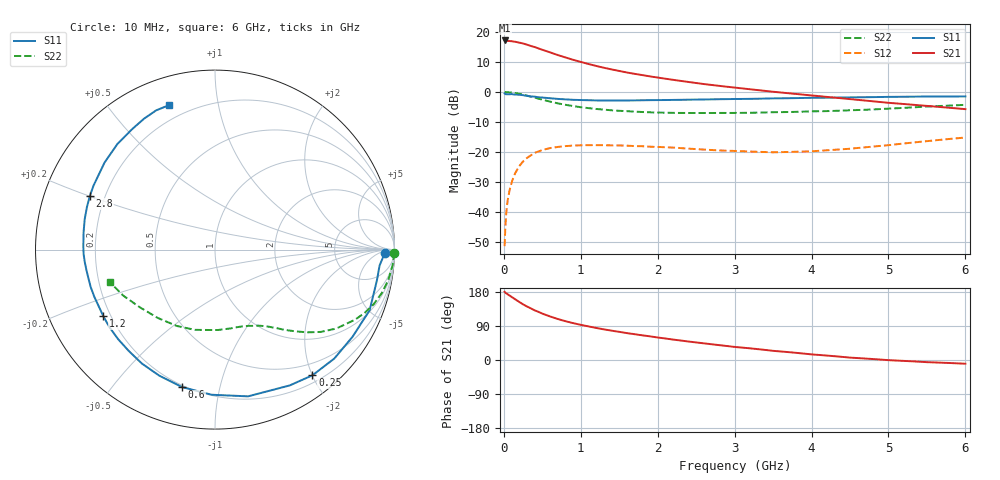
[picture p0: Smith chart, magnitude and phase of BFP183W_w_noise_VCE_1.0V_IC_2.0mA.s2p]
! Infineon Technologies  Discrete & RF Semiconductors
! BFP183W
! VCE =  1.0 V,  IC =  2.0 mA
! Common Emitter S-Parameters:  Jan 2017
# GHz  S  MA  R  50
!  f  S11  S21  S12  S22
! GHz  MAG  ANG  MAG  ANG  MAG  ANG  MAG  ANG
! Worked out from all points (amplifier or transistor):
!   77 points, 10 MHz to 6 GHz, reference 50 ohm
!   highest |S21| = 17.2 dB at 10 MHz (marker M1)
!   |S21| within 3 dB of that: start of sweep to 489.1 MHz
!   unconditionally stable (mu >= 1): 2.756 GHz to 5.438 GHz
!   at 130 MHz: K = 0.04, MSG = 22.5 dB, |S12| = -28.1 dB
!   at 2.2 GHz: K = 0.80, MSG = 11.3 dB, |S12| = -18.5 dB
!   at 6 GHz: K = 0.95, MSG = 4.7 dB, |S12| = -15.2 dB
!   lowest NFmin = 0.76 dB at 450 MHz
!   S11 on the Smith chart (normalised r, x): 10 MHz: 31, -12; 250 MHz: 0.31, -2.00; 600 MHz: 0.19, -0.77; 1.2 GHz: 0.17, -0.27; 2.8 GHz: 0.14, +0.20; 6 GHz: 0.13, +0.73
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0.01  0.9454 -1.3  7.23 180.0  0.0027 88.1  0.9998 -1.0
0.02  0.9213 -5.5  7.146 177.6  0.0058 89.3  0.9967 -2.0
0.03  0.9194 -7.2  7.137 176.2  0.0091 85.4  0.9952 -3.0
0.07  0.9173 -15.0  7.081 170.7  0.0216 80.1  0.9872 -6.9
0.15  0.9072 -32.4  6.863 159.9  0.0451 72.2  0.9603 -14.6
0.25  0.8862 -52.2  6.438 146.9  0.0697 61.0  0.9049 -23.0
0.3  0.8637 -61.2  6.149 141.3  0.0796 55.9  0.8713 -26.7
0.4  0.8381 -77.3  5.62 131.1  0.0967 47.1  0.8068 -33.0
0.5  0.8089 -91.3  5.062 122.5  0.108 40.2  0.7465 -37.9
0.6  0.7877 -103.5  4.579 114.9  0.1162 34.7  0.6929 -41.7
0.7  0.7679 -113.8  4.133 108.3  0.1216 29.6  0.648 -44.8
0.8  0.7543 -122.7  3.775 102.5  0.1255 26.0  0.6127 -47.4
0.9  0.7413 -130.5  3.444 97.3  0.1282 22.4  0.5834 -49.7
1.1  0.7299 -143.6  2.932 88.7  0.1303 17.2  0.5393 -53.5
1.2  0.7245 -149.2  2.721 84.6  0.1302 14.7  0.5221 -55.3
1.6  0.7231 -167.2  2.114 70.9  0.1275 8.7  0.4799 -62.3
2.1  0.7352 175.5  1.667 56.8  0.1201 5.5  0.4519 -72.0
2.8  0.7589 156.7  1.266 39.2  0.1064 6.4  0.4482 -87.8
3.1  0.7666 150.1  1.148 32.7  0.1031 9.4  0.4493 -94.6
4.1  0.8026 131.1  0.853 13.3  0.1048 24.3  0.4778 -119.3
5.1  0.8317 117.3  0.646 -1.4  0.1344 34.6  0.536 -145.0
6  0.8448 107.5  0.518 -9.8  0.1746 35.0  0.6118 -162.7
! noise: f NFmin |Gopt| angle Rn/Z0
0.45  0.76  0.48  45  0.22
0.9  0.95  0.41  86  0.19
1.9  1.77  0.52  156  0.09
2.4  2.08  0.55  173  0.09
